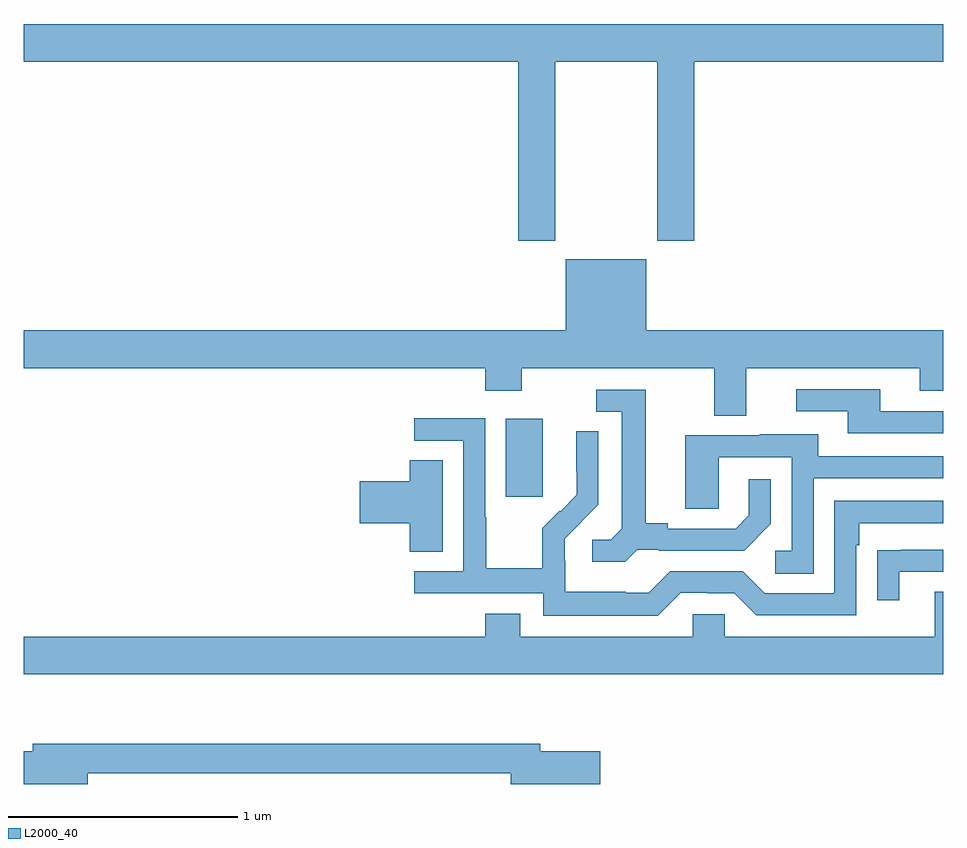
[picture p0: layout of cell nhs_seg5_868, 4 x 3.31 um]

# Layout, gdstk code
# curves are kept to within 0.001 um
import gdstk
lib = gdstk.Library(unit=1e-6, precision=1e-09)
def R(c, l, rs):  # rectangles x0, y0, x1, y1
    for r in rs: c.add(gdstk.rectangle(r[:2], r[2:], *l))
def P(c, l, *ps):  # polygons
    for p in ps: c.add(gdstk.Polygon(p, *l))
L2000_40 = (2000, 40)

nhs_seg5_868 = lib.new_cell('nhs_seg5_868')
R(nhs_seg5_868, L2000_40, [(169.097,848.208,169.258,848.548)])
P(nhs_seg5_868, L2000_40, [(167,850.1),(169.151,850.1),(169.151,849.321),(169.311,849.321),(169.311,850.1),(169.756,850.1),(169.756,849.321),(169.916,849.321),(169.916,850.1),(171,850.1),(171,850.264),(167,850.264)],
  [(170.143,848.768),(170.897,848.768),(170.897,848.669),(171,848.669),(171,848.932),(169.708,848.932),(169.708,849.241),(169.358,849.241),(169.358,848.932),(167,848.932),(167,848.768),(169.007,848.768),(169.007,848.669),(169.167,848.669),(169.167,848.768),(170.003,848.768),(170.003,848.56),(170.143,848.56)],
  [(171,848.58),(170.725,848.58),(170.725,848.676),(170.361,848.676),(170.361,848.58),(170.585,848.58),(170.585,848.484),(171,848.484)],
  [(169.668,847.977),(169.762,847.977),(169.762,847.974),(170.134,847.974),(170.25,848.09),(170.25,848.284),(170.153,848.284),(170.153,848.127),(170.096,848.07),(169.801,848.07),(169.801,848.093),(169.705,848.093),(169.705,848.673),(169.491,848.673),(169.491,848.577),(169.601,848.577),(169.601,848.069),(169.554,848.022),(169.473,848.022),(169.473,847.925),(169.616,847.925)],
  [(169.857,847.791),(169.973,847.791),(169.973,847.788),(170.091,847.788),(170.187,847.692),(170.622,847.692),(170.622,847.997),(170.635,847.997),(170.635,848.094),(171,848.094),(171,848.19),(170.526,848.19),(170.526,847.788),(170.223,847.788),(170.127,847.884),(169.812,847.884),(169.719,847.791),(169.619,847.791),(169.619,847.795),(169.356,847.795),(169.356,847.929),(169.354,847.929),(169.354,848.026),(169.5,848.174),(169.5,848.492),(169.403,848.492),(169.403,848.32),(169.406,848.32),(169.406,848.216),(169.335,848.145),(169.332,848.148),(169.255,848.071),(169.255,847.897),(169.011,847.897),(169.011,848.12),(169.008,848.12),(169.008,848.55),(168.699,848.55),(168.699,848.451),(168.912,848.451),(168.912,847.884),(168.699,847.884),(168.699,847.788),(169.26,847.788),(169.26,847.691),(169.757,847.691)],
  [(170.436,848.289),(171,848.289),(171,848.385),(170.455,848.385),(170.455,848.479),(170.201,848.479),(170.201,848.475),(169.877,848.475),(169.877,848.155),(170.022,848.155),(170.022,848.379),(170.34,848.379),(170.34,847.974),(170.268,847.974),(170.268,847.873),(170.436,847.873)],
  [(168.823,848.366),(168.68,848.366),(168.68,848.276),(168.462,848.276),(168.462,848.093),(168.68,848.093),(168.68,847.969),(168.823,847.969)],
  [(170.809,847.881),(171,847.881),(171,847.977),(170.815,847.977),(170.815,847.976),(170.713,847.976),(170.713,847.758),(170.809,847.758)],
  [(171,847.795),(170.963,847.795),(170.963,847.6),(170.049,847.6),(170.049,847.698),(169.911,847.698),(169.911,847.6),(169.159,847.6),(169.159,847.699),(169.007,847.699),(169.007,847.6),(167,847.6),(167,847.436),(171,847.436)],
  [(167.278,847.006),(169.118,847.006),(169.118,846.959),(169.507,846.959),(169.507,847.101),(169.246,847.101),(169.246,847.135),(167.039,847.135),(167.039,847.101),(167,847.101),(167,846.959),(167.278,846.959)])

lib.write_gds('nhs_seg5_868.gds')
